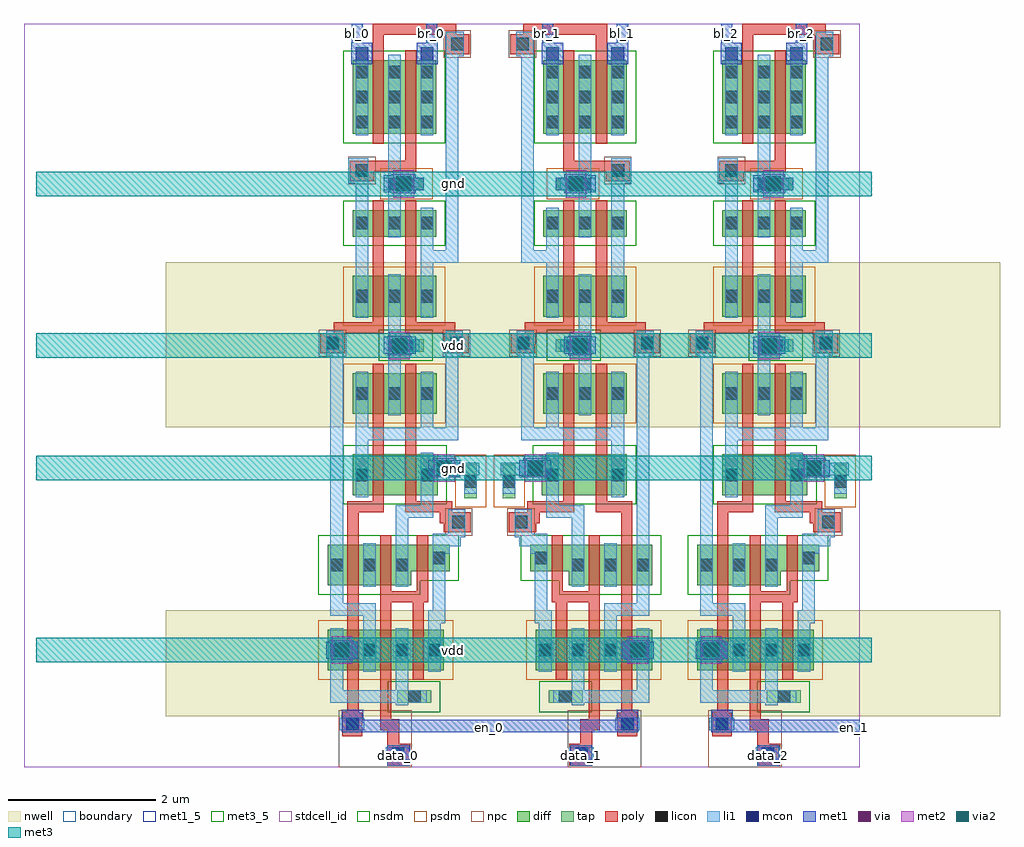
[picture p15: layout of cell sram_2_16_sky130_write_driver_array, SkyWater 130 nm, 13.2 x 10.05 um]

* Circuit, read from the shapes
.subckt sram_2_16_sky130_write_driver_array bl_0 bl_1 bl_2 br_0 br_1 br_2 data_0 data_1 data_2 en_0 en_1 gnd vdd
XM1 n1 en_0 n2 gnd sky130_fd_pr__nfet_01v8 w=0.55 l=0.15
XM2 n3 en_0 n4 gnd sky130_fd_pr__nfet_01v8 w=0.55 l=0.15
XM3 gnd n2 n5 gnd sky130_fd_pr__nfet_01v8 w=0.36 l=0.15
XM4 gnd n6 bl_0 gnd sky130_fd_pr__nfet_01v8 w=1 l=0.15
XM5 gnd data_0 n1 gnd sky130_fd_pr__nfet_01v8 w=0.55 l=0.15
XM6 gnd n7 n3 gnd sky130_fd_pr__nfet_01v8 w=0.55 l=0.15
XM7 n6 n4 gnd gnd sky130_fd_pr__nfet_01v8 w=0.36 l=0.15
XM8 br_0 n5 gnd gnd sky130_fd_pr__nfet_01v8 w=1 l=0.15
XM9 n7 data_0 gnd gnd sky130_fd_pr__nfet_01v8 w=0.36 l=0.15
XM10 gnd data_1 n8 gnd sky130_fd_pr__nfet_01v8 w=0.36 l=0.15
XM11 n9 n8 gnd gnd sky130_fd_pr__nfet_01v8 w=0.55 l=0.15
XM12 gnd n10 n11 gnd sky130_fd_pr__nfet_01v8 w=0.36 l=0.15
XM13 gnd n12 br_1 gnd sky130_fd_pr__nfet_01v8 w=1 l=0.15
XM14 n13 data_1 gnd gnd sky130_fd_pr__nfet_01v8 w=0.55 l=0.15
XM15 n10 en_0 n9 gnd sky130_fd_pr__nfet_01v8 w=0.55 l=0.15
XM16 n12 n14 gnd gnd sky130_fd_pr__nfet_01v8 w=0.36 l=0.15
XM17 bl_1 n11 gnd gnd sky130_fd_pr__nfet_01v8 w=1 l=0.15
XM18 n14 en_0 n13 gnd sky130_fd_pr__nfet_01v8 w=0.55 l=0.15
XM19 n15 en_1 n16 gnd sky130_fd_pr__nfet_01v8 w=0.55 l=0.15
XM20 n17 en_1 n18 gnd sky130_fd_pr__nfet_01v8 w=0.55 l=0.15
XM21 gnd n16 n19 gnd sky130_fd_pr__nfet_01v8 w=0.36 l=0.15
XM22 gnd n20 bl_2 gnd sky130_fd_pr__nfet_01v8 w=1 l=0.15
XM23 gnd data_2 n15 gnd sky130_fd_pr__nfet_01v8 w=0.55 l=0.15
XM24 gnd n21 n17 gnd sky130_fd_pr__nfet_01v8 w=0.55 l=0.15
XM25 n20 n18 gnd gnd sky130_fd_pr__nfet_01v8 w=0.36 l=0.15
XM26 br_2 n19 gnd gnd sky130_fd_pr__nfet_01v8 w=1 l=0.15
XM27 n21 data_2 gnd gnd sky130_fd_pr__nfet_01v8 w=0.36 l=0.15
XM28 n2 en_0 vdd vdd sky130_fd_pr__pfet_01v8 w=0.55 l=0.15
XM29 vdd en_0 n4 vdd sky130_fd_pr__pfet_01v8 w=0.55 l=0.15
XM30 vdd n2 n5 vdd sky130_fd_pr__pfet_01v8 w=0.55 l=0.15
XM31 vdd data_0 n2 vdd sky130_fd_pr__pfet_01v8 w=0.55 l=0.15
XM32 n4 n7 vdd vdd sky130_fd_pr__pfet_01v8 w=0.55 l=0.15
XM33 n6 n4 vdd vdd sky130_fd_pr__pfet_01v8 w=0.55 l=0.15
XM34 n7 data_0 vdd vdd sky130_fd_pr__pfet_01v8 w=0.55 l=0.15
XM35 vdd data_1 n8 vdd sky130_fd_pr__pfet_01v8 w=0.55 l=0.15
XM36 vdd n8 n10 vdd sky130_fd_pr__pfet_01v8 w=0.55 l=0.15
XM37 vdd n10 n11 vdd sky130_fd_pr__pfet_01v8 w=0.55 l=0.15
XM38 n14 data_1 vdd vdd sky130_fd_pr__pfet_01v8 w=0.55 l=0.15
XM39 n10 en_0 vdd vdd sky130_fd_pr__pfet_01v8 w=0.55 l=0.15
XM40 n12 n14 vdd vdd sky130_fd_pr__pfet_01v8 w=0.55 l=0.15
XM41 vdd en_0 n14 vdd sky130_fd_pr__pfet_01v8 w=0.55 l=0.15
XM42 n16 en_1 vdd vdd sky130_fd_pr__pfet_01v8 w=0.55 l=0.15
XM43 vdd en_1 n18 vdd sky130_fd_pr__pfet_01v8 w=0.55 l=0.15
XM44 vdd n16 n19 vdd sky130_fd_pr__pfet_01v8 w=0.55 l=0.15
XM45 vdd data_2 n16 vdd sky130_fd_pr__pfet_01v8 w=0.55 l=0.15
XM46 n18 n21 vdd vdd sky130_fd_pr__pfet_01v8 w=0.55 l=0.15
XM47 n20 n18 vdd vdd sky130_fd_pr__pfet_01v8 w=0.55 l=0.15
XM48 n21 data_2 vdd vdd sky130_fd_pr__pfet_01v8 w=0.55 l=0.15
.ends

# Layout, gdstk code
from math import pi, radians
import gdstk
lib = gdstk.Library(unit=1e-6, precision=1e-09)
def R(c, l, rs):  # rectangles x0, y0, x1, y1
    for r in rs: c.add(gdstk.rectangle(r[:2], r[2:], *l))
def A(c, l, x, y, w, h, nx, ny, dx, dy):  # array of equal rectangles
    R(c, l, [(x+i*dx, y+j*dy, x+i*dx+w, y+j*dy+h) for i in range(nx) for j in range(ny)])
nwell = (64, 20)
diff = (65, 20)
tap = (65, 44)
poly = (66, 20)
licon = (66, 44)
li1 = (67, 20)
mcon = (67, 44)
met1_5 = (68, 5)
met1 = (68, 20)
via = (68, 44)
met2 = (69, 20)
via2 = (69, 44)
met3_5 = (70, 5)
met3 = (70, 20)
stdcell_id = (81, 4)
nsdm = (93, 44)
psdm = (94, 20)
npc = (95, 20)
boundary = (235, 4)

sky130_fd_bd_sram__openr = lib.new_cell('sky130_fd_bd_sram__openram_write_driver')
R(sky130_fd_bd_sram__openr, nwell, [(-1.88,0.69,4.4,2.12), (-1.88,4.6,4.4,6.83)])
R(sky130_fd_bd_sram__openr, diff, [(0.305,1.31,1.88,1.86), (0.305,2.46,1.435,2.65), (0.305,2.65,1.955,3.01), (0.645,3.68,1.795,4.23), (0.645,4.78,1.78,5.33), (0.645,6.095,1.775,6.645), (0.645,7.175,1.775,7.535), (0.645,8.565,1.775,9.565)])
R(sky130_fd_bd_sram__openr, tap, [(1.245,0.87,1.705,1.04), (2.155,3.64,2.325,4.1), (1.125,5.62,1.605,5.79), (1.145,7.805,1.605,7.975)])
R(sky130_fd_bd_sram__openr, poly, [(1.115,0.02,1.425,0.32), (1.115,0.32,1.275,0.5), (0.505,0.42,0.775,0.74), (1.015,0.5,1.275,0.65), (1.015,0.65,1.165,2.23), (0.505,0.74,0.725,0.75), (0.575,0.75,0.725,3.45), (1.455,1.18,1.605,2.23), (1.015,2.23,1.665,2.38), (1.015,2.38,1.165,3.14), (1.515,2.38,1.665,3.14), (1.875,3.18,2.245,3.3), (1.825,3.3,2.245,3.45), (0.575,3.45,1.065,3.6), (1.355,3.45,1.995,3.6), (0.915,3.6,1.065,5.46), (1.355,3.6,1.505,5.46), (0.205,5.6,0.54,5.87), (1.885,5.6,2.215,5.72), (1.88,5.72,2.215,5.87), (0.39,5.87,1.065,6.02), (1.355,5.87,2.03,6.02), (0.915,6.02,1.065,7.665), (1.355,6.02,1.505,7.665), (0.605,7.925,0.935,8.055), (0.605,8.055,1.505,8.205), (1.355,8.205,1.505,9.695), (0.915,8.435,1.065,9.905), (1.895,9.645,2.225,9.905), (0.915,9.905,2.225,9.915), (0.915,9.915,2.045,10.055)])
A(sky130_fd_bd_sram__openr, licon, 0.345, 1.5, 0.17, 0.17, 4, 1, 0.44, 0)
A(sky130_fd_bd_sram__openr, licon, 0.345, 2.65, 0.17, 0.17, 3, 1, 0.44, 0)
A(sky130_fd_bd_sram__openr, licon, 0.685, 4.97, 0.17, 0.17, 3, 2, 0.44, 1.315)
A(sky130_fd_bd_sram__openr, licon, 0.685, 7.275, 0.17, 0.17, 3, 2, 0.44, 1.365)
A(sky130_fd_bd_sram__openr, licon, 0.685, 8.98, 0.17, 0.17, 3, 2, 0.44, 0.34)
R(sky130_fd_bd_sram__openr, licon, [(1.175,0.1,1.345,0.27), (0.555,0.5,0.725,0.67), (1.395,0.87,1.565,1.04), (1.725,2.745,1.895,2.915), (1.995,3.23,2.165,3.4), (2.155,3.78,2.325,3.95), (0.685,3.87,0.855,4.04), (1.565,3.87,1.735,4.04), (1.295,5.62,1.465,5.79), (0.285,5.65,0.455,5.82), (1.965,5.65,2.135,5.82), (1.295,7.805,1.465,7.975), (0.685,7.985,0.855,8.155), (1.975,9.695,2.145,9.865)])
R(sky130_fd_bd_sram__openr, li1, [(1.095,0.1,1.425,0.27), (0.47,0.5,0.805,0.67), (1.225,0.84,1.395,0.87), (0.345,0.87,1.645,1.04), (0.345,1.04,0.515,1.88), (1.225,1.04,1.395,1.88), (0.785,1.29,0.955,2.05), (1.665,1.29,1.835,1.95), (1.665,1.95,1.895,2.12), (0.345,2.05,0.955,2.22), (1.725,2.12,1.895,2.89), (0.345,2.22,0.515,5.57), (0.785,2.44,0.955,3.03), (1.225,2.44,1.395,3.4), (1.725,2.89,1.955,2.99), (1.725,2.99,2.105,3.11), (1.725,3.11,2.165,3.16), (1.935,3.16,2.165,3.49), (1.225,3.375,1.735,3.545), (1.565,3.4,1.735,3.95), (0.685,3.65,0.855,4.42), (2.155,3.7,2.325,3.95), (1.565,3.95,2.355,4.12), (1.565,4.12,1.735,4.25), (0.685,4.42,2.075,4.59), (0.685,4.59,0.855,5.35), (1.565,4.59,1.735,5.35), (1.905,4.59,2.075,5.57), (1.125,4.76,1.295,5.62), (0.285,5.57,0.515,5.9), (1.905,5.57,2.135,5.9), (1.125,5.62,1.545,5.79), (1.125,5.79,1.295,6.665), (0.685,6.08,0.855,7.9), (1.565,6.08,1.735,6.825), (1.565,6.825,2.075,6.995), (1.565,6.995,1.735,7.565), (1.905,6.995,2.075,9.615), (1.125,7.165,1.295,7.805), (1.125,7.805,1.545,7.975), (0.585,7.9,0.855,8.235), (1.125,7.975,1.295,9.635), (0.685,8.545,0.855,9.735), (1.565,8.545,1.735,9.735), (1.905,9.615,2.145,9.945)])
R(sky130_fd_bd_sram__openr, mcon, [(1.175,0.1,1.345,0.27), (0.555,0.5,0.725,0.67), (0.345,1.5,0.515,1.67), (1.8,3.95,1.97,4.12), (1.125,5.62,1.295,5.79), (1.125,7.805,1.295,7.975), (0.685,9.565,0.855,9.735), (1.565,9.565,1.735,9.735)])
R(sky130_fd_bd_sram__openr, met1_5, [(1.115,0.02,1.415,0.3), (0.495,0.47,2.5,0.64), (0.285,1.47,0.715,1.7), (1.67,3.945,2.1,4.15), (1.065,5.59,1.495,5.82), (1.065,7.805,1.605,7.975), (0.63,9.795,0.78,10.055), (1.64,9.795,1.79,10.055)])
R(sky130_fd_bd_sram__openr, met1, [(1.115,0.02,1.415,0.3), (1.115,0.02,1.415,0.3), (0.495,0.47,2.5,0.64), (0.495,0.47,2.5,0.64), (0.495,0.64,0.785,0.78), (0.285,1.47,0.715,1.7), (0.285,1.47,0.715,1.7), (1.735,3.92,2.1,3.945), (1.67,3.945,2.1,4.15), (1.67,3.945,2.1,4.15), (1.065,5.59,1.495,5.82), (1.065,5.59,1.495,5.82), (1.065,7.775,1.495,7.805), (1.065,7.805,1.605,7.975), (1.065,7.805,1.605,7.975), (1.065,7.975,1.495,8.005), (0.625,9.505,0.91,9.795), (1.51,9.505,1.795,9.795), (0.63,9.795,0.78,10.055), (0.63,9.795,0.78,10.055), (1.64,9.795,1.79,10.055), (1.64,9.795,1.79,10.055)])
R(sky130_fd_bd_sram__openr, stdcell_id, [(0,0,2.5,10.055)])
R(sky130_fd_bd_sram__openr, nsdm, [(1.12,0.745,1.83,1.165), (0.18,2.335,1.56,2.525), (0.18,2.525,2.08,3.135), (0.52,3.555,1.92,4.355), (1,5.495,1.73,5.915), (0.52,7.05,1.9,7.66), (0.52,8.44,1.9,9.69)])
R(sky130_fd_bd_sram__openr, psdm, [(0.18,1.185,2.005,1.985), (2.03,3.515,2.45,4.225), (0.52,4.655,1.905,5.455), (0.52,5.97,1.9,6.77), (1.02,7.68,1.73,8.1)])
R(sky130_fd_bd_sram__openr, npc, [(0.455,0,1.445,0.77), (1.895,3.13,2.265,3.5), (0.185,5.55,0.555,5.92), (1.865,5.55,2.235,5.92), (0.585,7.885,0.955,8.255), (1.875,9.595,2.245,9.965)])
R(sky130_fd_bd_sram__openr, boundary, [(0,0,2.5,10.055)])
sky130_fd_bd_sram__openr.add(gdstk.Label('DIN', (1.265,0.06), layer=68, texttype=16))
sky130_fd_bd_sram__openr.add(gdstk.Label('VDD', (0.54,1.585), layer=68, texttype=16))
sky130_fd_bd_sram__openr.add(gdstk.Label('BL', (0.7,9.905), layer=68, texttype=16))
sky130_fd_bd_sram__openr.add(gdstk.Label('BR', (1.7,9.865), layer=68, texttype=16))
sky130_fd_bd_sram__openr.add(gdstk.Label('EN', (0.53,0.59), layer=68, texttype=16))
sky130_fd_bd_sram__openr.add(gdstk.Label('GND', (1.965,4.135), layer=68, texttype=16))
sky130_fd_bd_sram__openr.add(gdstk.Label('GND', (1.1,7.885), layer=68, texttype=16))
sky130_fd_bd_sram__openr.add(gdstk.Label('VDD', (1.1,5.7), layer=68, texttype=16))
sky130_fd_bd_sram__openr.add(gdstk.Label('din', (1.265,0.16), layer=68, texttype=5))
sky130_fd_bd_sram__openr.add(gdstk.Label('bl', (0.705,9.925), layer=68, texttype=5))
sky130_fd_bd_sram__openr.add(gdstk.Label('br', (1.715,9.925), layer=68, texttype=5))
sky130_fd_bd_sram__openr.add(gdstk.Label('en', (1.498,0.555), layer=68, texttype=5))
sky130_fd_bd_sram__openr.add(gdstk.Label('vdd', (0.5,1.585), layer=68, texttype=5))
sky130_fd_bd_sram__openr.add(gdstk.Label('vdd', (1.28,5.705), layer=68, texttype=5))
sky130_fd_bd_sram__openr.add(gdstk.Label('gnd', (1.885,4.048), layer=68, texttype=5))
sky130_fd_bd_sram__openr.add(gdstk.Label('gnd', (1.335,7.89), layer=68, texttype=5))

sram_2_16_sky130_contact = lib.new_cell('sram_2_16_sky130_contact_7')
R(sram_2_16_sky130_contact, met1, [(0,0.03,0.32,0.29)])
R(sram_2_16_sky130_contact, via, [(0.085,0.085,0.235,0.235)])
R(sram_2_16_sky130_contact, met2, [(0.03,0,0.29,0.32)])
R(sram_2_16_sky130_contact, stdcell_id, [(0,0,0.32,0.32)])
R(sram_2_16_sky130_contact, boundary, [(0,0,0.32,0.32)])

c_sram_2_16_sky130_contact = lib.new_cell('sram_2_16_sky130_contact_8')
R(c_sram_2_16_sky130_contact, met2, [(0.025,0,0.305,0.37)])
R(c_sram_2_16_sky130_contact, via2, [(0.065,0.085,0.265,0.285)])
R(c_sram_2_16_sky130_contact, met3, [(0,0.02,0.33,0.35)])
R(c_sram_2_16_sky130_contact, stdcell_id, [(0,0,0.33,0.37)])
R(c_sram_2_16_sky130_contact, boundary, [(0,0,0.33,0.37)])

sram_2_16_sky130_write_d = lib.new_cell('sram_2_16_sky130_write_driver_array')
R(sram_2_16_sky130_write_d, met1_5, [(4.915,0.02,5.215,0.3), (7.385,0.02,7.685,0.3), (9.915,0.02,10.215,0.3), (4.295,0.47,8.305,0.61), (11.16,0.47,11.3,0.61), (4.43,9.795,4.58,10.055), (5.44,9.795,5.59,10.055), (7.01,9.795,7.16,10.055), (8.02,9.795,8.17,10.055), (9.43,9.795,9.58,10.055), (10.44,9.795,10.59,10.055)])
R(sram_2_16_sky130_write_d, met1, [(4.915,0.02,5.215,0.3), (7.385,0.02,7.685,0.3), (9.915,0.02,10.215,0.3), (4.295,0.47,8.305,0.61), (11.16,0.47,11.3,0.61), (4.14,1.455,4.46,1.715), (8.14,1.455,8.46,1.715), (9.14,1.455,9.46,1.715), (5.525,3.92,5.845,4.18), (6.755,3.92,7.075,4.18), (10.525,3.92,10.845,4.18), (4.92,5.575,5.24,5.835), (7.36,5.575,7.68,5.835), (9.92,5.575,10.24,5.835), (4.975,7.76,5.295,8.02), (7.305,7.76,7.625,8.02), (9.975,7.76,10.295,8.02), (4.43,9.795,4.58,10.055), (5.44,9.795,5.59,10.055), (7.01,9.795,7.16,10.055), (8.02,9.795,8.17,10.055), (9.43,9.795,9.58,10.055), (10.44,9.795,10.59,10.055)])
R(sram_2_16_sky130_write_d, met2, [(4.16,1.465,4.44,1.705), (8.16,1.465,8.44,1.705), (9.16,1.465,9.44,1.705), (5.545,3.925,5.825,4.165), (6.775,3.925,7.055,4.165), (10.545,3.925,10.825,4.165), (4.94,5.585,5.22,5.825), (7.38,5.585,7.66,5.825), (9.94,5.585,10.22,5.825), (4.995,7.77,5.275,8.01), (7.325,7.77,7.605,8.01), (9.995,7.77,10.275,8.01)])
R(sram_2_16_sky130_write_d, met3_5, [(0.165,1.42,11.465,1.75), (0.165,3.88,11.465,4.21), (0.165,5.54,11.465,5.87), (0.165,7.725,11.465,8.055)])
R(sram_2_16_sky130_write_d, met3, [(0.165,1.42,11.465,1.75), (0.165,3.88,11.465,4.21), (0.165,5.54,11.465,5.87), (0.165,7.725,11.465,8.055)])
R(sram_2_16_sky130_write_d, stdcell_id, [(0,0,11.3,10.055)])
R(sram_2_16_sky130_write_d, boundary, [(0,0,11.3,10.055)])
sram_2_16_sky130_write_d.add(gdstk.Reference(sky130_fd_bd_sram__openr, (3.8,0)))
sram_2_16_sky130_write_d.add(gdstk.Reference(sky130_fd_bd_sram__openr, (8.8,0), rotation=pi, x_reflection=True))
sram_2_16_sky130_write_d.add(gdstk.Reference(sky130_fd_bd_sram__openr, (8.8,0)))
sram_2_16_sky130_write_d.add(gdstk.Reference(sram_2_16_sky130_contact, (4.14,1.425)))
sram_2_16_sky130_write_d.add(gdstk.Reference(c_sram_2_16_sky130_contact, (4.135,1.4)))
sram_2_16_sky130_write_d.add(gdstk.Reference(sram_2_16_sky130_contact, (8.14,1.425)))
sram_2_16_sky130_write_d.add(gdstk.Reference(c_sram_2_16_sky130_contact, (8.135,1.4)))
sram_2_16_sky130_write_d.add(gdstk.Reference(sram_2_16_sky130_contact, (9.14,1.425)))
sram_2_16_sky130_write_d.add(gdstk.Reference(c_sram_2_16_sky130_contact, (9.135,1.4)))
sram_2_16_sky130_write_d.add(gdstk.Reference(sram_2_16_sky130_contact, (4.92,5.545)))
sram_2_16_sky130_write_d.add(gdstk.Reference(c_sram_2_16_sky130_contact, (4.915,5.52)))
sram_2_16_sky130_write_d.add(gdstk.Reference(sram_2_16_sky130_contact, (7.36,5.545)))
sram_2_16_sky130_write_d.add(gdstk.Reference(c_sram_2_16_sky130_contact, (7.355,5.52)))
sram_2_16_sky130_write_d.add(gdstk.Reference(sram_2_16_sky130_contact, (9.92,5.545)))
sram_2_16_sky130_write_d.add(gdstk.Reference(c_sram_2_16_sky130_contact, (9.915,5.52)))
sram_2_16_sky130_write_d.add(gdstk.Reference(sram_2_16_sky130_contact, (5.525,3.89)))
sram_2_16_sky130_write_d.add(gdstk.Reference(c_sram_2_16_sky130_contact, (5.52,3.86)))
sram_2_16_sky130_write_d.add(gdstk.Reference(sram_2_16_sky130_contact, (6.755,3.89)))
sram_2_16_sky130_write_d.add(gdstk.Reference(c_sram_2_16_sky130_contact, (6.75,3.86)))
sram_2_16_sky130_write_d.add(gdstk.Reference(sram_2_16_sky130_contact, (10.525,3.89)))
sram_2_16_sky130_write_d.add(gdstk.Reference(c_sram_2_16_sky130_contact, (10.52,3.86)))
sram_2_16_sky130_write_d.add(gdstk.Reference(sram_2_16_sky130_contact, (4.975,7.73)))
sram_2_16_sky130_write_d.add(gdstk.Reference(c_sram_2_16_sky130_contact, (4.97,7.705)))
sram_2_16_sky130_write_d.add(gdstk.Reference(sram_2_16_sky130_contact, (7.305,7.73)))
sram_2_16_sky130_write_d.add(gdstk.Reference(c_sram_2_16_sky130_contact, (7.3,7.705)))
sram_2_16_sky130_write_d.add(gdstk.Reference(sram_2_16_sky130_contact, (9.975,7.73)))
sram_2_16_sky130_write_d.add(gdstk.Reference(c_sram_2_16_sky130_contact, (9.97,7.705)))
sram_2_16_sky130_write_d.add(gdstk.Label('data_0', (5.065,0.16), layer=68, texttype=5))
sram_2_16_sky130_write_d.add(gdstk.Label('bl_0', (4.505,9.925), layer=68, texttype=5))
sram_2_16_sky130_write_d.add(gdstk.Label('br_0', (5.515,9.925), layer=68, texttype=5))
sram_2_16_sky130_write_d.add(gdstk.Label('data_1', (7.535,0.16), layer=68, texttype=5))
sram_2_16_sky130_write_d.add(gdstk.Label('bl_1', (8.095,9.925), layer=68, texttype=5))
sram_2_16_sky130_write_d.add(gdstk.Label('br_1', (7.085,9.925), layer=68, texttype=5))
sram_2_16_sky130_write_d.add(gdstk.Label('data_2', (10.065,0.16), layer=68, texttype=5))
sram_2_16_sky130_write_d.add(gdstk.Label('bl_2', (9.505,9.925), layer=68, texttype=5))
sram_2_16_sky130_write_d.add(gdstk.Label('br_2', (10.515,9.925), layer=68, texttype=5))
sram_2_16_sky130_write_d.add(gdstk.Label('en_0', (6.3,0.54), layer=68, texttype=5))
sram_2_16_sky130_write_d.add(gdstk.Label('en_1', (11.23,0.54), layer=68, texttype=5))
sram_2_16_sky130_write_d.add(gdstk.Label('vdd', (5.815,1.585), layer=70, texttype=5))
sram_2_16_sky130_write_d.add(gdstk.Label('vdd', (5.815,5.705), layer=70, texttype=5))
sram_2_16_sky130_write_d.add(gdstk.Label('gnd', (5.815,7.89), layer=70, texttype=5))
sram_2_16_sky130_write_d.add(gdstk.Label('gnd', (5.815,4.045), layer=70, texttype=5))

lib.write_gds('sram_2_16_sky130_write_driver_array.gds')
